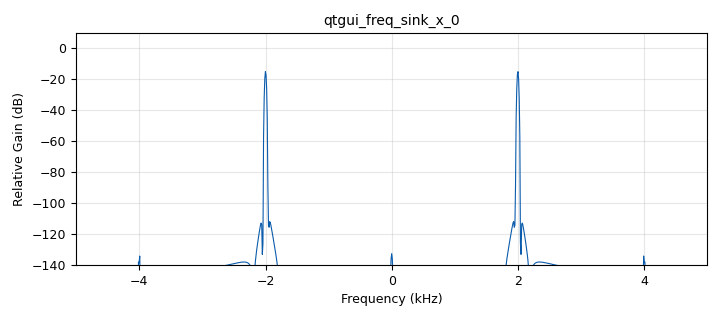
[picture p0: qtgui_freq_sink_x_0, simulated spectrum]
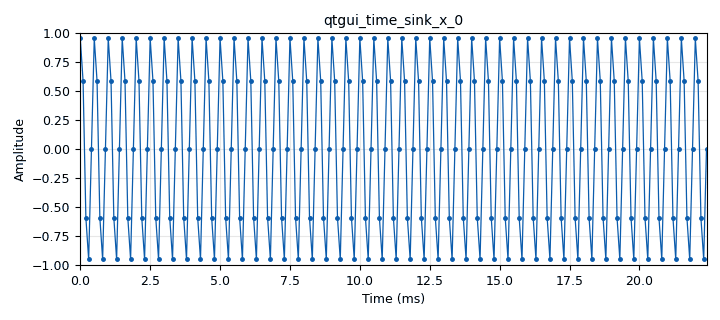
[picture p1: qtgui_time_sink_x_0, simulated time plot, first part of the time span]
options:
  parameters:
    author: Barry Duggan
    copyright: '2020'
    description: Sample Rate demo
    generate_options: qt_gui
    id: J1C_02_1
    output_language: python
    title: Sample Rate demo
  states: {}

blocks:
- name: freq
  id: variable_qtgui_range
  parameters:
    label: Frequency
    start: '1000'
    step: '1000'
    stop: '40000'
    value: '2000'
  states: {}
- name: samp_rate
  id: variable_qtgui_range
  parameters:
    label: Frecuencia de muestreo
    start: '1000'
    step: '1000'
    stop: '80000'
    value: '10000'
  states: {}
- name: analog_sig_source_x_0
  id: analog_sig_source_x
  parameters:
    amp: '1'
    freq: freq
    offset: '0'
    phase: '0'
    samp_rate: samp_rate
    type: float
    waveform: analog.GR_SIN_WAVE
  states: {}
- name: blocks_throttle_0
  id: blocks_throttle
  parameters:
    samples_per_second: samp_rate
    type: float
  states: {}
- name: qtgui_freq_sink_x_0
  id: qtgui_freq_sink_x
  parameters:
    bw: samp_rate
    fc: '0'
    fftsize: '1024'
    type: float
  states: {}
- name: qtgui_time_sink_x_0
  id: qtgui_time_sink_x
  parameters:
    marker1: '0'
    size: '1024'
    srate: samp_rate
    type: float
  states: {}

connections:
- [analog_sig_source_x_0, '0', blocks_throttle_0, '0']
- [blocks_throttle_0, '0', qtgui_freq_sink_x_0, '0']
- [blocks_throttle_0, '0', qtgui_time_sink_x_0, '0']

metadata:
  file_format: 1
